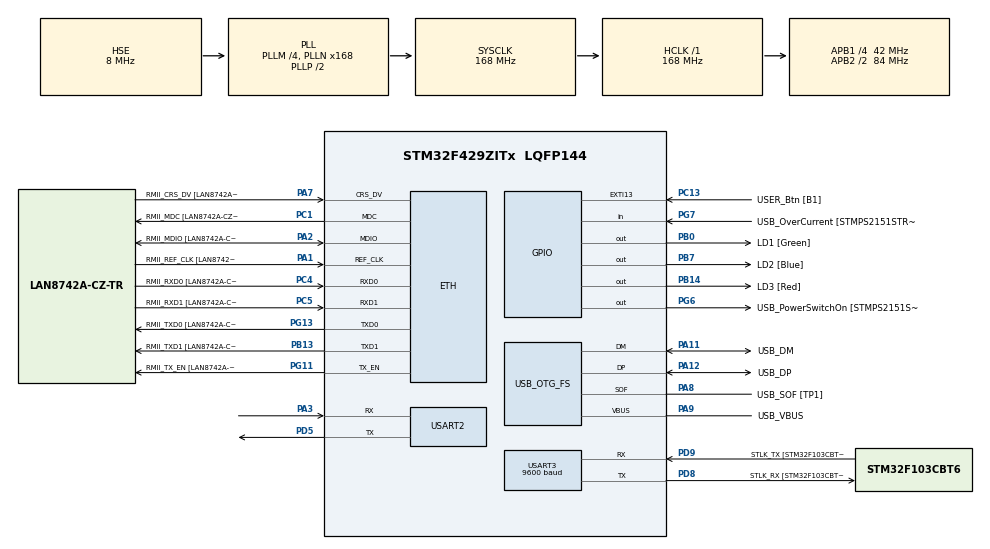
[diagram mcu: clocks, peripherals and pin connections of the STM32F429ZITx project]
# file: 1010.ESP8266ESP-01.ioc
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ETH.MediaInterface=HAL_ETH_RMII_MODE
ETH.PHY_Name=LAN8742A_PHY_ADDRESS
ETH.PHY_Value=0
ETH.PhyAddress=0
Mcu.Family=STM32F4
Mcu.Name=STM32F429ZITx
Mcu.Package=LQFP144
NVIC.PriorityGroup=NVIC_PRIORITYGROUP_4
NVIC.USART2_IRQn=true\:0\:0\:false\:false\:true\:true\:true\:true
NVIC.USART3_IRQn=true\:0\:0\:false\:false\:true\:true\:true\:true
PA1.GPIO_Label=RMII_REF_CLK [LAN8742A-CZ-TR_REFCLK0]
PA1.Mode=RMII
PA1.Signal=ETH_REF_CLK
PA10.GPIO_Label=USB_ID
PA10.Signal=USB_OTG_FS_ID
PA11.GPIO_Label=USB_DM
PA11.Mode=Device_Only
PA11.Signal=USB_OTG_FS_DM
PA12.GPIO_Label=USB_DP
PA12.Mode=Device_Only
PA12.Signal=USB_OTG_FS_DP
PA13.GPIO_Label=TMS
PA13.Mode=Serial_Wire
PA13.Signal=SYS_JTMS-SWDIO
PA14.GPIO_Label=TCK
PA14.Mode=Serial_Wire
PA14.Signal=SYS_JTCK-SWCLK
PA2.GPIO_Label=RMII_MDIO [LAN8742A-CZ-TR_MDIO]
PA2.Mode=RMII
PA2.Signal=ETH_MDIO
PA3.Mode=Asynchronous
PA3.Signal=USART2_RX
PA7.GPIO_Label=RMII_CRS_DV [LAN8742A-CZ-TR_CRS_DV]
PA7.Mode=RMII
PA7.Signal=ETH_CRS_DV
PA8.GPIO_Label=USB_SOF [TP1]
PA8.Mode=Activate_SOF_FS
PA8.Signal=USB_OTG_FS_SOF
PA9.GPIO_Label=USB_VBUS
PA9.Mode=Activate_VBUS
PA9.Signal=USB_OTG_FS_VBUS
PB0.GPIO_Label=LD1 [Green]
PB0.Signal=GPIO_Output
PB13.GPIO_Label=RMII_TXD1 [LAN8742A-CZ-TR_TXD1]
PB13.Mode=RMII
PB13.Signal=ETH_TXD1
PB14.GPIO_Label=LD3 [Red]
PB14.Signal=GPIO_Output
PB7.GPIO_Label=LD2 [Blue]
PB7.Signal=GPIO_Output
PC1.GPIO_Label=RMII_MDC [LAN8742A-CZ-TR_MDC]
PC1.Mode=RMII
PC1.Signal=ETH_MDC
PC13.GPIO_Label=USER_Btn [B1]
PC13.Signal=GPXTI13
PC14/OSC32_IN.Mode=LSE-External-Oscillator
PC14/OSC32_IN.Signal=RCC_OSC32_IN
PC15/OSC32_OUT.Mode=LSE-External-Oscillator
PC15/OSC32_OUT.Signal=RCC_OSC32_OUT
PC4.GPIO_Label=RMII_RXD0 [LAN8742A-CZ-TR_RXD0]
PC4.Mode=RMII
PC4.Signal=ETH_RXD0
PC5.GPIO_Label=RMII_RXD1 [LAN8742A-CZ-TR_RXD1]
PC5.Mode=RMII
PC5.Signal=ETH_RXD1
PD5.Mode=Asynchronous
PD5.Signal=USART2_TX
PD8.GPIO_Label=STLK_RX [STM32F103CBT6_PA3]
PD8.Mode=Asynchronous
PD8.Signal=USART3_TX
PD9.GPIO_Label=STLK_TX [STM32F103CBT6_PA2]
PD9.Mode=Asynchronous
PD9.Signal=USART3_RX
PG11.GPIO_Label=RMII_TX_EN [LAN8742A-CZ-TR_TXEN]
PG11.Mode=RMII
PG11.Signal=ETH_TX_EN
PG13.GPIO_Label=RMII_TXD0 [LAN8742A-CZ-TR_TXD0]
PG13.Mode=RMII
PG13.Signal=ETH_TXD0
PG6.GPIO_Label=USB_PowerSwitchOn [STMPS2151STR_EN]
PG6.Signal=GPIO_Output
PG7.GPIO_Label=USB_OverCurrent [STMPS2151STR_FAULT]
PG7.Signal=GPIO_Input
PH0/OSC_IN.GPIO_Label=MCO [STM32F103CBT6_PA8]
PH0/OSC_IN.Mode=HSE-External-Clock-Source
PH0/OSC_IN.Signal=RCC_OSC_IN
PH1/OSC_OUT.Mode=HSE-External-Clock-Source
PH1/OSC_OUT.Signal=RCC_OSC_OUT
ProjectManager.HeapSize=0x200
ProjectManager.StackSize=0x400
ProjectManager.TargetToolchain=STM32CubeIDE
RCC.48MHZClocksFreq_Value=48000000
RCC.AHBFreq_Value=168000000
RCC.APB1CLKDivider=RCC_HCLK_DIV4
RCC.APB1Freq_Value=42000000
RCC.APB1TimFreq_Value=84000000
RCC.APB2CLKDivider=RCC_HCLK_DIV2
RCC.APB2Freq_Value=84000000
RCC.APB2TimCLKDivider=2
RCC.APB2TimFreq_Value=168000000
RCC.CortexFreq_Value=168000000
RCC.HCLKFreq_Value=168000000
RCC.HSE_VALUE=8000000
RCC.HSI_VALUE=16000000
RCC.PLLM=4
RCC.PLLMUL=RCC_PLL_MUL9
RCC.PLLN=168
RCC.PLLQ=7
RCC.PRESCALERUSB=RCC_USBCLKSOURCE_PLL_DIV1_5
RCC.SYSCLKFreq_VALUE=168000000
RCC.SYSCLKSource=RCC_SYSCLKSOURCE_PLLCLK
RCC.SYSCLKSourceVirtual=RCC_SYSCLKSOURCE_PLLCLK
RCC.USBFreq_Value=48000000
RCC.VCOOutputFreq_Value=336000000
USART2.VirtualMode=VM_ASYNC
USART3.BaudRate=9600
USART3.VirtualMode=VM_ASYNC
USB_OTG_FS.VirtualMode=Device_Only
board=NUCLEO-F429ZI

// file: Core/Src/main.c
/* USER CODE BEGIN Header */
/**
  ******************************************************************************
  * @file           : main.c
  * @brief          : Main program body
  ******************************************************************************
  * @attention
  *
  * Copyright (c) 2024 STMicroelectronics.
  * All rights reserved.
  *
  * This software is licensed under terms that can be found in the LICENSE file
  * in the root directory of this software component.
  * If no LICENSE file comes with this software, it is provided AS-IS.
  *
  ******************************************************************************
  */
/* USER CODE END Header */
#include "main.h"
#include "string.h"

ETH_TxPacketConfig TxConfig;
ETH_DMADescTypeDef  DMARxDscrTab[ETH_RX_DESC_CNT]; /* Ethernet Rx DMA Descriptors */
ETH_DMADescTypeDef  DMATxDscrTab[ETH_TX_DESC_CNT]; /* Ethernet Tx DMA Descriptors */

ETH_HandleTypeDef heth;

UART_HandleTypeDef huart2;
UART_HandleTypeDef huart3;

PCD_HandleTypeDef hpcd_USB_OTG_FS;

void SystemClock_Config(void);
static void MX_GPIO_Init(void);
static void MX_ETH_Init(void);
static void MX_USART3_UART_Init(void);
static void MX_USB_OTG_FS_PCD_Init(void);
static void MX_USART2_UART_Init(void);
/* USER CODE BEGIN PFP */
char rx_buffer[50];// ?��?��?�� 버퍼
/* USER CODE END PFP */

/* USER CODE BEGIN 0 */
//----------  printf start ----------
  #ifdef __GNUC__
  /* With GCC, small printf (option LD Linker->Libraries->Small printf
     set to 'Yes') calls __io_putchar() */
  #define PUTCHAR_PROTOTYPE int __io_putchar(int ch)
  #else
  #define PUTCHAR_PROTOTYPE int fputc(int ch, FILE *f)
  #endif /* __GNUC_ */
  /**
    * @brief  Retargets the C library printf function to the USART.
    * @param  None
    * @retval None
    */
  PUTCHAR_PROTOTYPE   // Add for printf
  {
    /* Place your implementation of fputc here */
    /* e.g. write a character to the USART3 and Loop until the end of transmission */
    HAL_UART_Transmit(&huart3, (uint8_t *)&ch, 1, 0xFFFF);

    return ch;
  }
  //----------  printf end ----------
// wifi module receive callback function
void HAL_UART_RxCpltCallback(UART_HandleTypeDef *huart)
{
	printf("recv\n");
}
/* USER CODE END 0 */

int main(void)
{

  /* MCU Configuration--------------------------------------------------------*/

  /* Reset of all peripherals, Initializes the Flash interface and the Systick. */
  HAL_Init();

  /* Configure the system clock */
  SystemClock_Config();

  /* Initialize all configured peripherals */
  MX_GPIO_Init();
  MX_ETH_Init();
  MX_USART3_UART_Init();
  MX_USB_OTG_FS_PCD_Init();
  MX_USART2_UART_Init();

  /* Infinite loop */
  /* USER CODE BEGIN WHILE */
  while (1)
  {
	  /*
	   *   // ESP8266 initialization
  sendCommand("AT+RST");
  delay(2000);

  // Set to single connection mode
  sendCommand("AT+CIPMUX=0");

  // Connect to Wi-Fi
  sendCommand("AT+CWJAP=\"aiot5\",\"aiot51234\"");
  delay(5000); // Wait for Wi-Fi connection

  // Start TCP connection
  sendCommand("AT+CIPSTART=\"TCP\",\"10.10.15.58\",12345");
	   */

	  char atCommand[] = "AT+RST\r\n";  // AT 명령어
	  char rxBuffer[50];  // 응답을 저장할 버퍼
	  HAL_UART_Transmit(&huart2, (uint8_t*)atCommand, sizeof(atCommand), HAL_MAX_DELAY);  // AT 명령어 전송
	  //printf("Sending: %s\n", atCommand);  // 응답 출력
	  HAL_Delay(100);
	  HAL_UART_Receive(&huart2, (uint8_t*)rxBuffer, sizeof(rxBuffer), HAL_MAX_DELAY);   // 응답 수신
	  //printf("Response: %s\n", rxBuffer);  // 응답 출력
	  HAL_Delay(1000);
	  char atCommand1[] = "AT\r\n";  // AT 명령어
	  HAL_UART_Transmit(&huart2, (uint8_t*)atCommand1, sizeof(atCommand1), HAL_MAX_DELAY);  // AT 명령어 전송
	  //printf("Sending: %s\n", atCommand1);  // 응답 출력
	  HAL_Delay(100);
	  HAL_UART_Receive(&huart2, (uint8_t*)rxBuffer, sizeof(rxBuffer), HAL_MAX_DELAY);   // 응답 수신
	  //printf("Response: %s\n", rxBuffer);  // 응답 출력

    /* USER CODE END WHILE */

  }
}

void SystemClock_Config(void)
{
  RCC_OscInitTypeDef RCC_OscInitStruct = {0};
  RCC_ClkInitTypeDef RCC_ClkInitStruct = {0};

  /** Configure the main internal regulator output voltage
  */
  __HAL_RCC_PWR_CLK_ENABLE();
  __HAL_PWR_VOLTAGESCALING_CONFIG(PWR_REGULATOR_VOLTAGE_SCALE1);

  /** Initializes the RCC Oscillators according to the specified parameters
  * in the RCC_OscInitTypeDef structure.
  */
  RCC_OscInitStruct.OscillatorType = RCC_OSCILLATORTYPE_HSE;
  RCC_OscInitStruct.HSEState = RCC_HSE_BYPASS;
  RCC_OscInitStruct.PLL.PLLState = RCC_PLL_ON;
  RCC_OscInitStruct.PLL.PLLSource = RCC_PLLSOURCE_HSE;
  RCC_OscInitStruct.PLL.PLLM = 4;
  RCC_OscInitStruct.PLL.PLLN = 168;
  RCC_OscInitStruct.PLL.PLLP = RCC_PLLP_DIV2;
  RCC_OscInitStruct.PLL.PLLQ = 7;
  if (HAL_RCC_OscConfig(&RCC_OscInitStruct) != HAL_OK)
  {
    Error_Handler();
  }

  /** Initializes the CPU, AHB and APB buses clocks
  */
  RCC_ClkInitStruct.ClockType = RCC_CLOCKTYPE_HCLK|RCC_CLOCKTYPE_SYSCLK
                              |RCC_CLOCKTYPE_PCLK1|RCC_CLOCKTYPE_PCLK2;
  RCC_ClkInitStruct.SYSCLKSource = RCC_SYSCLKSOURCE_PLLCLK;
  RCC_ClkInitStruct.AHBCLKDivider = RCC_SYSCLK_DIV1;
  RCC_ClkInitStruct.APB1CLKDivider = RCC_HCLK_DIV4;
  RCC_ClkInitStruct.APB2CLKDivider = RCC_HCLK_DIV2;

  if (HAL_RCC_ClockConfig(&RCC_ClkInitStruct, FLASH_LATENCY_5) != HAL_OK)
  {
    Error_Handler();
  }
}

static void MX_ETH_Init(void)
{

   static uint8_t MACAddr[6];

  heth.Instance = ETH;
  MACAddr[0] = 0x00;
  MACAddr[1] = 0x80;
  MACAddr[2] = 0xE1;
  MACAddr[3] = 0x00;
  MACAddr[4] = 0x00;
  MACAddr[5] = 0x00;
  heth.Init.MACAddr = &MACAddr[0];
  heth.Init.MediaInterface = HAL_ETH_RMII_MODE;
  heth.Init.TxDesc = DMATxDscrTab;
  heth.Init.RxDesc = DMARxDscrTab;
  heth.Init.RxBuffLen = 1524;

  if (HAL_ETH_Init(&heth) != HAL_OK)
  {
    Error_Handler();
  }

  memset(&TxConfig, 0 , sizeof(ETH_TxPacketConfig));
  TxConfig.Attributes = ETH_TX_PACKETS_FEATURES_CSUM | ETH_TX_PACKETS_FEATURES_CRCPAD;
  TxConfig.ChecksumCtrl = ETH_CHECKSUM_IPHDR_PAYLOAD_INSERT_PHDR_CALC;
  TxConfig.CRCPadCtrl = ETH_CRC_PAD_INSERT;

}

static void MX_USART2_UART_Init(void)
{

  huart2.Instance = USART2;
  huart2.Init.BaudRate = 115200;
  huart2.Init.WordLength = UART_WORDLENGTH_8B;
  huart2.Init.StopBits = UART_STOPBITS_1;
  huart2.Init.Parity = UART_PARITY_NONE;
  huart2.Init.Mode = UART_MODE_TX_RX;
  huart2.Init.HwFlowCtl = UART_HWCONTROL_NONE;
  huart2.Init.OverSampling = UART_OVERSAMPLING_16;
  if (HAL_UART_Init(&huart2) != HAL_OK)
  {
    Error_Handler();
  }

}

static void MX_USART3_UART_Init(void)
{

  huart3.Instance = USART3;
  huart3.Init.BaudRate = 9600;
  huart3.Init.WordLength = UART_WORDLENGTH_8B;
  huart3.Init.StopBits = UART_STOPBITS_1;
  huart3.Init.Parity = UART_PARITY_NONE;
  huart3.Init.Mode = UART_MODE_TX_RX;
  huart3.Init.HwFlowCtl = UART_HWCONTROL_NONE;
  huart3.Init.OverSampling = UART_OVERSAMPLING_16;
  if (HAL_UART_Init(&huart3) != HAL_OK)
  {
    Error_Handler();
  }

}

static void MX_USB_OTG_FS_PCD_Init(void)
{

  hpcd_USB_OTG_FS.Instance = USB_OTG_FS;
  hpcd_USB_OTG_FS.Init.dev_endpoints = 4;
  hpcd_USB_OTG_FS.Init.speed = PCD_SPEED_FULL;
  hpcd_USB_OTG_FS.Init.dma_enable = DISABLE;
  hpcd_USB_OTG_FS.Init.phy_itface = PCD_PHY_EMBEDDED;
  hpcd_USB_OTG_FS.Init.Sof_enable = ENABLE;
  hpcd_USB_OTG_FS.Init.low_power_enable = DISABLE;
  hpcd_USB_OTG_FS.Init.lpm_enable = DISABLE;
  hpcd_USB_OTG_FS.Init.vbus_sensing_enable = ENABLE;
  hpcd_USB_OTG_FS.Init.use_dedicated_ep1 = DISABLE;
  if (HAL_PCD_Init(&hpcd_USB_OTG_FS) != HAL_OK)
  {
    Error_Handler();
  }

}

static void MX_GPIO_Init(void)
{
  GPIO_InitTypeDef GPIO_InitStruct = {0};

  /* GPIO Ports Clock Enable */
  __HAL_RCC_GPIOC_CLK_ENABLE();
  __HAL_RCC_GPIOH_CLK_ENABLE();
  __HAL_RCC_GPIOA_CLK_ENABLE();
  __HAL_RCC_GPIOB_CLK_ENABLE();
  __HAL_RCC_GPIOD_CLK_ENABLE();
  __HAL_RCC_GPIOG_CLK_ENABLE();

  /*Configure GPIO pin Output Level */
  HAL_GPIO_WritePin(GPIOB, LD1_Pin|LD3_Pin|LD2_Pin, GPIO_PIN_RESET);

  /*Configure GPIO pin Output Level */
  HAL_GPIO_WritePin(USB_PowerSwitchOn_GPIO_Port, USB_PowerSwitchOn_Pin, GPIO_PIN_RESET);

  /*Configure GPIO pin : USER_Btn_Pin */
  GPIO_InitStruct.Pin = USER_Btn_Pin;
  GPIO_InitStruct.Mode = GPIO_MODE_IT_RISING;
  GPIO_InitStruct.Pull = GPIO_NOPULL;
  HAL_GPIO_Init(USER_Btn_GPIO_Port, &GPIO_InitStruct);

  /*Configure GPIO pins : LD1_Pin LD3_Pin LD2_Pin */
  GPIO_InitStruct.Pin = LD1_Pin|LD3_Pin|LD2_Pin;
  GPIO_InitStruct.Mode = GPIO_MODE_OUTPUT_PP;
  GPIO_InitStruct.Pull = GPIO_NOPULL;
  GPIO_InitStruct.Speed = GPIO_SPEED_FREQ_LOW;
  HAL_GPIO_Init(GPIOB, &GPIO_InitStruct);

  /*Configure GPIO pin : USB_PowerSwitchOn_Pin */
  GPIO_InitStruct.Pin = USB_PowerSwitchOn_Pin;
  GPIO_InitStruct.Mode = GPIO_MODE_OUTPUT_PP;
  GPIO_InitStruct.Pull = GPIO_NOPULL;
  GPIO_InitStruct.Speed = GPIO_SPEED_FREQ_LOW;
  HAL_GPIO_Init(USB_PowerSwitchOn_GPIO_Port, &GPIO_InitStruct);

  /*Configure GPIO pin : USB_OverCurrent_Pin */
  GPIO_InitStruct.Pin = USB_OverCurrent_Pin;
  GPIO_InitStruct.Mode = GPIO_MODE_INPUT;
  GPIO_InitStruct.Pull = GPIO_NOPULL;
  HAL_GPIO_Init(USB_OverCurrent_GPIO_Port, &GPIO_InitStruct);

}

void Error_Handler(void)
{
  __disable_irq();
  while (1)
  {
  }
}
